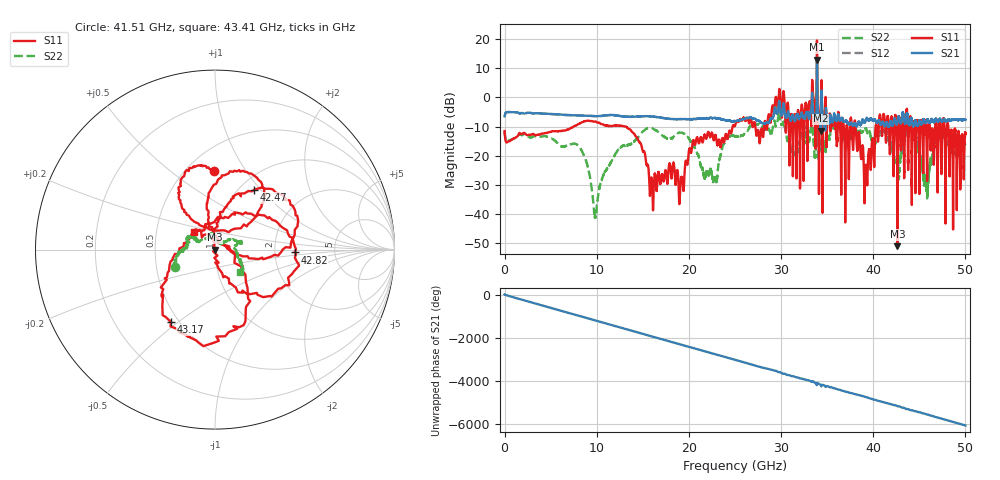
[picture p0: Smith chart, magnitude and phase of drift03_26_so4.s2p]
!Created with skrf (http://scikit-rf.org).
# Hz S RI R 50.0
!freq ReS11 ImS11 ReS21 ImS21 ReS12 ImS12 ReS22 ImS22
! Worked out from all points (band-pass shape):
!   10001 points, 300 kHz to 50 GHz, reference 50 ohm
!   highest |S21| = 12.90 dB at 33.9 GHz (marker M1); lowest = -11.5 dB at 34.32 GHz (marker M2)
!   |S21| within 3 dB of the highest: 33.88992 GHz to 33.90542 GHz (15.5 MHz wide, 0.0457 % of centre)
!   lowest |S11| = -50.9 dB at 42.63 GHz (marker M3), VSWR 1.01, Z = 49.7 - j0.0606 ohm
!   |S11| at or under -10 dB: start of sweep to 7.485 GHz; 13.16 GHz to 24.74 GHz (11.59 GHz wide, 61.1 % of centre); 38.09 GHz to 40.26 GHz (2.168 GHz wide, 5.53 % of centre) (the widest 3 of 50)
!   |S22| runs from -41.2 to 5.3 dB; largest |S21 - S12| = 0.32
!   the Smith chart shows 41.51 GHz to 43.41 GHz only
!   S11 on the Smith chart (normalised r, x): 41.51 GHz: 0.67, +0.73; 42.47 GHz: 1.16, +0.92; 42.82 GHz: 2.59, -0.10; 43.17 GHz: 0.45, -0.47; 43.41 GHz: 0.78, +0.16
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300000  -0.2354 -0.1204  0.4654 0.0798  0.4657 0.0801  -0.2342 -0.1268
1.440291e9  0.2101 0.0649  -0.5479 -0.0293  -0.5481 -0.0292  0.2111 -0.00427
2.915283e9  -0.212 -0.088  0.5341 0.0514  0.5347 0.0517  -0.2024 0.0403
4.415274e9  0.2062 0.1324  -0.5221 -0.0418  -0.5216 -0.0418  0.1979 -0.0872
8.33525e9  0.2886 -0.2335  0.1468 0.4658  0.1464 0.4661  -0.0727 -0.101
9.850241e9  -0.362 0.1317  -0.1531 -0.4505  -0.153 -0.4506  0.0085 0.00205
1.66702e10  0.0274 0.0445  -0.3782 0.2534  -0.3783 0.2538  -0.127 -0.2188
2.500015e10  -0.3259 -0.0155  -0.2558 -0.2971  -0.254 -0.2977  -0.2117 0.0279
2.895513e10  -0.3244 0.432  -0.2881 0.3265  -0.2975 0.2913  0.0657 0.2218
3.006512e10  0.3994 0.2656  0.45 -0.1972  0.453 -0.1833  0.1733 -0.2979
3.171011e10  -0.0918 0.187  -0.3595 0.3583  -0.358 0.3542  0.0644 0.1575
3.33351e10  0.5945 -0.805  0.2433 -0.8289  0.2465 -0.8119  -0.1888 -0.4164
3.38951e10  -1.926 -9.186  -4.376 0.5753  -4.099 0.7436  0.4035 1.799
3.432009e10  -0.7785 0.000891  -0.1806 0.1972  -0.2411 0.1775  0.143 -0.0716
4.150505e10  -0.00491 0.4383  0.3368 0.1328  0.3359 0.1334  -0.2249 -0.0953
4.167005e10  -0.1994 0.3052  0.3129 0.00245  0.3145 0.00978  -0.1914 -0.00659
4.246505e10  0.2178 0.3332  0.0285 -0.3555  0.0269 -0.3556  -0.0254 0.0703
4.263004e10  -0.00277 -0.00061  -0.169 -0.3409  -0.1638 -0.3431  -0.0216 0.0906
4.281504e10  0.4439 -0.0157  -0.2528 -0.3487  -0.2531 -0.3459  0.0329 0.0347
4.316504e10  -0.2448 -0.4037  -0.5006 0.0752  -0.5012 0.0715  0.1408 0.0362
4.341004e10  -0.1171 0.0978  -0.3181 0.1883  -0.3164 0.1842  0.142 -0.123
5e10  -0.1173 -0.2128  0.1482 0.3851  0.1443 0.3853  -0.0559 -0.1439
